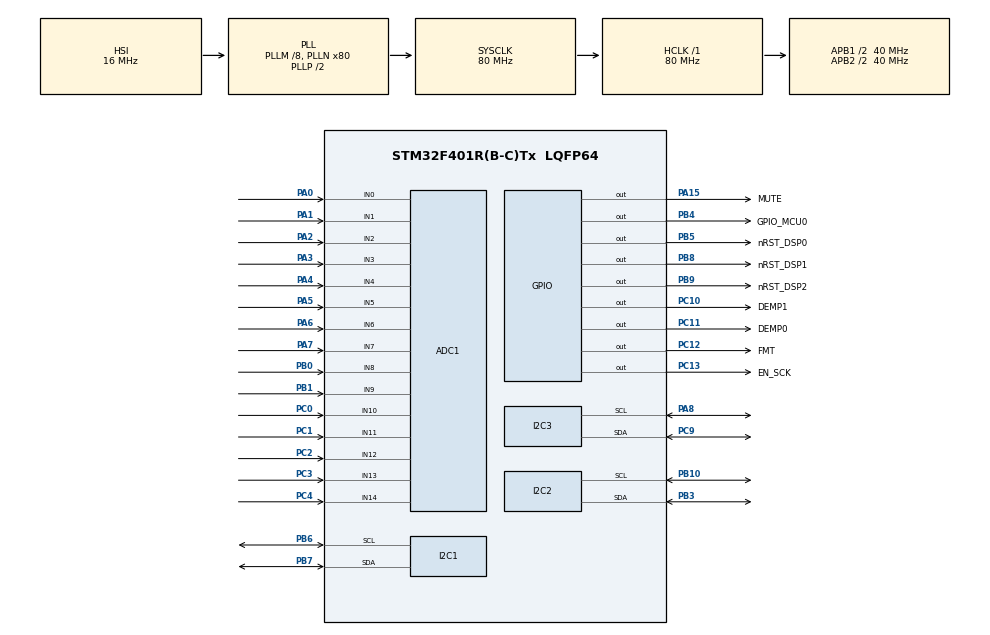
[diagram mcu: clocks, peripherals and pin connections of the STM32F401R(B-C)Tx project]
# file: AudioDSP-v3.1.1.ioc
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ADC1.Channel-0\#ChannelRegularConversion=ADC_CHANNEL_0
ADC1.Channel-1\#ChannelRegularConversion=ADC_CHANNEL_1
ADC1.Channel-10\#ChannelRegularConversion=ADC_CHANNEL_10
ADC1.Channel-11\#ChannelRegularConversion=ADC_CHANNEL_11
ADC1.Channel-12\#ChannelRegularConversion=ADC_CHANNEL_12
ADC1.Channel-13\#ChannelRegularConversion=ADC_CHANNEL_13
ADC1.Channel-14\#ChannelRegularConversion=ADC_CHANNEL_14
ADC1.Channel-2\#ChannelRegularConversion=ADC_CHANNEL_2
ADC1.Channel-3\#ChannelRegularConversion=ADC_CHANNEL_3
ADC1.Channel-4\#ChannelRegularConversion=ADC_CHANNEL_4
ADC1.Channel-5\#ChannelRegularConversion=ADC_CHANNEL_5
ADC1.Channel-6\#ChannelRegularConversion=ADC_CHANNEL_6
ADC1.Channel-7\#ChannelRegularConversion=ADC_CHANNEL_7
ADC1.Channel-8\#ChannelRegularConversion=ADC_CHANNEL_8
ADC1.Channel-9\#ChannelRegularConversion=ADC_CHANNEL_9
ADC1.EOCSelection=ADC_EOC_SEQ_CONV
ADC1.ExternalTrigConv=ADC_EXTERNALTRIGCONV_T2_TRGO
ADC1.NbrOfConversion=15
ADC1.NbrOfConversionFlag=1
ADC1.Rank-0\#ChannelRegularConversion=1
ADC1.Rank-1\#ChannelRegularConversion=2
ADC1.Rank-10\#ChannelRegularConversion=11
ADC1.Rank-11\#ChannelRegularConversion=12
ADC1.Rank-12\#ChannelRegularConversion=13
ADC1.Rank-13\#ChannelRegularConversion=14
ADC1.Rank-14\#ChannelRegularConversion=15
ADC1.Rank-2\#ChannelRegularConversion=3
ADC1.Rank-3\#ChannelRegularConversion=4
ADC1.Rank-4\#ChannelRegularConversion=5
ADC1.Rank-5\#ChannelRegularConversion=6
ADC1.Rank-6\#ChannelRegularConversion=7
ADC1.Rank-7\#ChannelRegularConversion=8
ADC1.Rank-8\#ChannelRegularConversion=9
ADC1.Rank-9\#ChannelRegularConversion=10
ADC1.SamplingTime-0\#ChannelRegularConversion=ADC_SAMPLETIME_84CYCLES
ADC1.SamplingTime-1\#ChannelRegularConversion=ADC_SAMPLETIME_84CYCLES
ADC1.SamplingTime-10\#ChannelRegularConversion=ADC_SAMPLETIME_84CYCLES
ADC1.SamplingTime-11\#ChannelRegularConversion=ADC_SAMPLETIME_84CYCLES
ADC1.SamplingTime-12\#ChannelRegularConversion=ADC_SAMPLETIME_84CYCLES
ADC1.SamplingTime-13\#ChannelRegularConversion=ADC_SAMPLETIME_84CYCLES
ADC1.SamplingTime-14\#ChannelRegularConversion=ADC_SAMPLETIME_84CYCLES
ADC1.SamplingTime-2\#ChannelRegularConversion=ADC_SAMPLETIME_84CYCLES
ADC1.SamplingTime-3\#ChannelRegularConversion=ADC_SAMPLETIME_84CYCLES
ADC1.SamplingTime-4\#ChannelRegularConversion=ADC_SAMPLETIME_84CYCLES
ADC1.SamplingTime-5\#ChannelRegularConversion=ADC_SAMPLETIME_84CYCLES
ADC1.SamplingTime-6\#ChannelRegularConversion=ADC_SAMPLETIME_84CYCLES
ADC1.SamplingTime-7\#ChannelRegularConversion=ADC_SAMPLETIME_84CYCLES
ADC1.SamplingTime-8\#ChannelRegularConversion=ADC_SAMPLETIME_84CYCLES
ADC1.SamplingTime-9\#ChannelRegularConversion=ADC_SAMPLETIME_84CYCLES
ADC1.master=1
Dma.ADC1.0.Direction=DMA_PERIPH_TO_MEMORY
Dma.ADC1.0.FIFOMode=DMA_FIFOMODE_DISABLE
Dma.ADC1.0.Instance=DMA2_Stream0
Dma.ADC1.0.MemDataAlignment=DMA_MDATAALIGN_WORD
Dma.ADC1.0.MemInc=DMA_MINC_ENABLE
Dma.ADC1.0.Mode=DMA_CIRCULAR
Dma.ADC1.0.PeriphDataAlignment=DMA_PDATAALIGN_WORD
Dma.ADC1.0.PeriphInc=DMA_PINC_DISABLE
Dma.ADC1.0.Priority=DMA_PRIORITY_LOW
Dma.Request0=ADC1
I2C1.I2C_Mode=I2C_Fast
I2C2.I2C_Mode=I2C_Fast
I2C3.I2C_Mode=I2C_Fast
Mcu.Family=STM32F4
Mcu.Name=STM32F401R(B-C)Tx
Mcu.Package=LQFP64
NVIC.DMA2_Stream0_IRQn=true\:0\:0\:false\:false\:true\:false\:true\:true
NVIC.PriorityGroup=NVIC_PRIORITYGROUP_4
PA0-WKUP.Signal=ADCx_IN0
PA1.Signal=ADCx_IN1
PA13.Mode=Serial_Wire
PA13.Signal=SYS_JTMS-SWDIO
PA14.Mode=Serial_Wire
PA14.Signal=SYS_JTCK-SWCLK
PA15.GPIO_Label=MUTE
PA15.Signal=GPIO_Output
PA2.Signal=ADCx_IN2
PA3.Signal=ADCx_IN3
PA4.Signal=ADCx_IN4
PA5.Signal=ADCx_IN5
PA6.Signal=ADCx_IN6
PA7.Signal=ADCx_IN7
PA8.Mode=I2C
PA8.Signal=I2C3_SCL
PB0.Signal=ADCx_IN8
PB1.Signal=ADCx_IN9
PB10.Mode=I2C
PB10.Signal=I2C2_SCL
PB3.Mode=I2C
PB3.Signal=I2C2_SDA
PB4.GPIO_Label=GPIO_MCU0
PB4.Signal=GPIO_Output
PB5.GPIO_Label=nRST_DSP0
PB5.Signal=GPIO_Output
PB6.Mode=I2C
PB6.Signal=I2C1_SCL
PB7.Mode=I2C
PB7.Signal=I2C1_SDA
PB8.GPIO_Label=nRST_DSP1
PB8.Signal=GPIO_Output
PB9.GPIO_Label=nRST_DSP2
PB9.Signal=GPIO_Output
PC0.Signal=ADCx_IN10
PC1.Signal=ADCx_IN11
PC10.GPIO_Label=DEMP1
PC10.Signal=GPIO_Output
PC11.GPIO_Label=DEMP0
PC11.Signal=GPIO_Output
PC12.GPIO_Label=FMT
PC12.Signal=GPIO_Output
PC13-ANTI_TAMP.GPIO_Label=EN_SCK
PC13-ANTI_TAMP.Signal=GPIO_Output
PC2.Signal=ADCx_IN12
PC3.Signal=ADCx_IN13
PC4.Signal=ADCx_IN14
PC9.Mode=I2C
PC9.Signal=I2C3_SDA
ProjectManager.HeapSize=0x200
ProjectManager.StackSize=0x400
ProjectManager.TargetToolchain=STM32CubeIDE
RCC.48MHZClocksFreq_Value=40000000
RCC.AHBFreq_Value=80000000
RCC.APB1CLKDivider=RCC_HCLK_DIV2
RCC.APB1Freq_Value=40000000
RCC.APB1TimFreq_Value=80000000
RCC.APB2CLKDivider=RCC_HCLK_DIV2
RCC.APB2Freq_Value=40000000
RCC.APB2TimFreq_Value=80000000
RCC.CortexFreq_Value=80000000
RCC.HCLKFreq_Value=80000000
RCC.HSE_VALUE=25000000
RCC.HSI_VALUE=16000000
RCC.LSE_VALUE=32768
RCC.PLLM=8
RCC.PLLN=80
RCC.SYSCLKFreq_VALUE=80000000
RCC.SYSCLKSource=RCC_SYSCLKSOURCE_PLLCLK
RCC.VCOOutputFreq_Value=160000000
SH.ADCx_IN0.0=ADC1_IN0,IN0
SH.ADCx_IN1.0=ADC1_IN1,IN1
SH.ADCx_IN10.0=ADC1_IN10,IN10
SH.ADCx_IN11.0=ADC1_IN11,IN11
SH.ADCx_IN12.0=ADC1_IN12,IN12
SH.ADCx_IN13.0=ADC1_IN13,IN13
SH.ADCx_IN14.0=ADC1_IN14,IN14
SH.ADCx_IN2.0=ADC1_IN2,IN2
SH.ADCx_IN3.0=ADC1_IN3,IN3
SH.ADCx_IN4.0=ADC1_IN4,IN4
SH.ADCx_IN5.0=ADC1_IN5,IN5
SH.ADCx_IN6.0=ADC1_IN6,IN6
SH.ADCx_IN7.0=ADC1_IN7,IN7
SH.ADCx_IN8.0=ADC1_IN8,IN8
SH.ADCx_IN9.0=ADC1_IN9,IN9
TIM2.Period=500-1
TIM2.Prescaler=8000
TIM2.TIM_MasterOutputTrigger=TIM_TRGO_UPDATE
TIM4.Period=123
TIM4.Prescaler=80 - 1
VP_TIM2_VS_ClockSourceINT.Mode=Internal
VP_TIM4_VS_ClockSourceINT.Mode=Internal
board=custom

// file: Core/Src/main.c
/* USER CODE BEGIN Header */
/**
  ******************************************************************************
  * @file           : main.c
  * @brief          : Main program body
  ******************************************************************************
  * @attention
  *
  * Copyright (c) 2024 STMicroelectronics.
  * All rights reserved.
  *
  * This software is licensed under terms that can be found in the LICENSE file
  * in the root directory of this software component.
  * If no LICENSE file comes with this software, it is provided AS-IS.
  *
  ******************************************************************************
  */
/* USER CODE END Header */
#include "main.h"

/* USER CODE BEGIN Includes */
#include "DSP/SigmaStudioFW.h"

#include "DSP/DSP_IC_1.h"
#include "DSP/DSP_IC_1_PARAM.h"

#include "math.h"
/* USER CODE END Includes */

/* USER CODE BEGIN PD */
#define ADC_POT 15

#define VOL_SUB 10
#define VOL_ARRAY 11
#define LOUD_LOW_ARRAY 12
#define LOUD_HIGH_ARRAY 13
#define LOUD_GRL_ARRAY 14

// I2C2
#define ADC0_ADDR 0x94
#define ADC1_ADDR 0x96
// I2C3
#define ADC2_ADDR 0x94

// I2C1
#define DSP0_ADDR 0x70
#define DSP1_ADDR 0x72
#define DSP2_ADDR 0x74
/* USER CODE END PD */

ADC_HandleTypeDef hadc1;
DMA_HandleTypeDef hdma_adc1;

I2C_HandleTypeDef hi2c1;
I2C_HandleTypeDef hi2c2;
I2C_HandleTypeDef hi2c3;

TIM_HandleTypeDef htim2;
TIM_HandleTypeDef htim4;

/* USER CODE BEGIN PV */
HAL_StatusTypeDef stat;

uint8_t auxData[4];

uint32_t value[ADC_POT]; // To store ADC values
uint16_t pote[ADC_POT];  // Potentiometer values 0-29
uint16_t log_in_table[30];
uint16_t linear_in_table[30];
uint16_t flag[ADC_POT];  // Flag for different potentiometers
uint8_t update = 0;
uint8_t tx_check = 0;

ADI_REG_TYPE aux[4];
ADI_REG_TYPE data_SafeLoad[4]; // Per slot
ADI_REG_TYPE address_SafeLoad[4]; // 2 Bytes per address
ADI_REG_TYPE num_SafeLoad_Lower[4];
ADI_REG_TYPE num_SafeLoad_Upper[4];
/* USER CODE END PV */

void SystemClock_Config(void);
static void MX_GPIO_Init(void);
static void MX_DMA_Init(void);
static void MX_ADC1_Init(void);
static void MX_TIM2_Init(void);
static void MX_I2C1_Init(void);
static void MX_I2C2_Init(void);
static void MX_I2C3_Init(void);
static void MX_TIM4_Init(void);
/* USER CODE BEGIN PFP */
void HAL_ADC_ConvCpltCallback(ADC_HandleTypeDef* hadc);
void delay_us(uint16_t us);
void Safeload_Write(void);
/* USER CODE END PFP */

int main(void)
{
  /* USER CODE BEGIN 1 */
	  uint16_t k = 0;
	  uint16_t pote_aux = 0;
	  uint16_t BandAddress[ADC_POT]; // Addresses of filters
	  uint32_t vol_data[30]; // Fixed volume values
	  uint32_t loud_data[30]; // Fixed loudness values
	  uint32_t boost_data[30]; // Fixed boost loudness values
	  uint32_t comp_data[30]; // Fixed compensation values

	  // Band Address Assign
	  BandAddress[0] = MOD_BAND32_SEL_DCINPALG145X4VALUE_ADDR;
	  BandAddress[1] = MOD_BAND64_SEL_DCINPALG145X5VALUE_ADDR;
	  BandAddress[2] = MOD_BAND128_SEL_DCINPALG145X6VALUE_ADDR;
	  BandAddress[3] = MOD_BAND256_SEL_DCINPALG145X7VALUE_ADDR;
	  BandAddress[4] = MOD_BAND512_SEL_DCINPALG145X8VALUE_ADDR;
	  BandAddress[5] = MOD_BAND1K_SEL_DCINPALG145X9VALUE_ADDR;
	  BandAddress[6] = MOD_BAND2K_SEL_DCINPALG145X10VALUE_ADDR;
	  BandAddress[7] = MOD_BAND4K_SEL_DCINPALG145X11VALUE_ADDR;
	  BandAddress[8] = MOD_BAND8K_SEL_DCINPALG145X12VALUE_ADDR;
	  BandAddress[9] = MOD_BAND16K_SEL_DCINPALG145X13VALUE_ADDR;
	  //BandAddress[VOL_SUB] = MOD_VOLHP_GAINALGNS145X4GAIN_ADDR; // Subwoofer Volume
	  BandAddress[VOL_ARRAY] = MOD_VOL_GAINALGNS145X1GAIN_ADDR; // General Volume
	  BandAddress[LOUD_LOW_ARRAY] = MOD_LOUD_ALG0_LEVEL0_ADDR;
	  BandAddress[LOUD_HIGH_ARRAY] = MOD_LOUD_ALG0_LEVEL1_ADDR;
	  BandAddress[LOUD_GRL_ARRAY] = MOD_LOUD_SEL_DCINPALG145X15VALUE_ADDR;

	  // 8.24 FixPoint Volume
	  vol_data[29] = 0x01000000; // 0dB
	  vol_data[28] = 0x00CB5918; // -2dB
	  vol_data[27] = 0x00A1866C; // -4dB
	  vol_data[26] = 0x00804DCE; // -6dB
	  vol_data[25] = 0x0065EA5A; // -8dB
	  vol_data[24] = 0x0050F44E; // -10dB
	  vol_data[23] = 0x00404DE6; // -12dB
	  vol_data[22] = 0x00331427; // -14dB (-7.2dB)
	  vol_data[21] = 0x002892C2; // -16dB
	  vol_data[20] = 0x00203A7E; // -18dB
	  vol_data[19] = 0x0019999A; // -20dB
	  vol_data[18] = 0x001455B6; // -22dB
	  vol_data[17] = 0x0010270B; // -24dB
	  vol_data[16] = 0x000CD495; // -26dB
	  vol_data[15] = 0x000A3109; // -28dB
	  vol_data[14] = 0x0008186E; // -30dB
	  vol_data[13] = 0x00066E31; // -32dB
	  vol_data[12] = 0x00051B9D; // -34dB
	  vol_data[11] = 0x00040EAD; // -36dB
	  vol_data[10] = 0x0003390D; // -38dB
	  vol_data[9] = 0x00028F5C; // -40dB
	  vol_data[8] = 0x00020892; // -42dB
	  vol_data[7] = 0x00019D81; // -44dB
	  vol_data[6] = 0x00014875; // -46dB
	  vol_data[5] = 0x000104E7; // -48dB
	  vol_data[4] = 0x0000CF3E; // -50dB
	  vol_data[3] = 0x0000A49E; // -52dB
	  vol_data[2] = 0x000082C3; // -54dB
	  vol_data[1] = 0x000067DE; // -56dB
	  vol_data[0] = 0x00005281; // -58dB

	  // 8.24 FixPoint Loudness
	  loud_data[29] = 0x01000000; // 0dB
	  loud_data[28] = 0x00F1ADF9; // -0.5dB
	  loud_data[27] = 0x00E42905; // -1dB
	  loud_data[26] = 0x00D765AC; // -1.5dB
	  loud_data[25] = 0x00CB5918; // -2dB
	  loud_data[24] = 0x00BFF911; // -2.5dB
	  loud_data[23] = 0x00B53BEF; // -3dB
	  loud_data[22] = 0x00AB1896; // -3.5dB
	  loud_data[21] = 0x00A1866C; // -4dB
	  loud_data[20] = 0x00987D50; // -4.5dB
	  loud_data[19] = 0x008FF59A; // -5dB
	  loud_data[18] = 0x0087E80B; // -5.5dB
	  loud_data[17] = 0x00804DCE; // -6dB
	  loud_data[16] = 0x00792071; // -6.5dB
	  loud_data[15] = 0x007259DB; // -7dB
	  loud_data[14] = 0x006BF44D; // -7.5dB
	  loud_data[13] = 0x0065EA5A; // -8dB
	  loud_data[12] = 0x006036E1; // -8.5dB
	  loud_data[11] = 0x005AD50D; // -9dB
	  loud_data[10] = 0x0055C04C; // -9.5dB
	  loud_data[9] = 0x0050F44E; // -10dB
	  loud_data[8] = 0x004C6D01; // -10.5dB
	  loud_data[7] = 0x0048268E; // -11dB
	  loud_data[6] = 0x00441D54; // -11.5dB
	  loud_data[5] = 0x00404DE6; // -12dB
	  loud_data[4] = 0x003CB509; // -12.5dB
	  loud_data[3] = 0x00394FAF; // -13dB
	  loud_data[2] = 0x00361AF6; // -13.5dB
	  loud_data[1] = 0x00331427; // -14dB
	  loud_data[0] = 0x003038AF; // -14.5dB

	  // 8.24 Compensation FixPoint
	  comp_data[29] = 0x01000000; // 0dB
	  comp_data[28] = 0x010F2B41; // +0.5dB
	  comp_data[27] = 0x011F3C9A; // +1dB
	  comp_data[26] = 0x013041AF; // +1.5dB
	  comp_data[25] = 0x014248F0; // +2dB
	  comp_data[24] = 0x015561A9; // +2.5dB
	  comp_data[23] = 0x01699C0F; // +3dB
	  comp_data[22] = 0x017F094D; // +3.5dB
	  comp_data[21] = 0x0195BB8F; // +4dB
	  comp_data[20] = 0x01ADC61A; // +4.5dB
	  comp_data[19] = 0x01C73D52; // +5dB
	  comp_data[18] = 0x01E236D4; // +5.5dB
	  comp_data[17] = 0x01FEC983; // +6dB
	  comp_data[16] = 0x021D0D9E; // +6.5dB
	  comp_data[15] = 0x023D1CD4; // +7dB
	  comp_data[14] = 0x025F1259; // +7.5dB
	  comp_data[13] = 0x02830AFD; // +8dB
	  comp_data[12] = 0x02A92547; // +8.5dB
	  comp_data[11] = 0x02D1818B; // +9dB
	  comp_data[10] = 0x02FC4209; // +9.5dB
	  comp_data[9] = 0x03298B07; // +10dB
	  comp_data[8] = 0x035982F3; // +10.5dB
	  comp_data[7] = 0x038C5281; // +11dB
	  comp_data[6] = 0x03C224CD; // +11.5dB
	  comp_data[5] = 0x03FB2784; // +12dB
	  comp_data[4] = 0x04378B05; // +12.5dB
	  comp_data[3] = 0x0477828F; // +13dB
	  comp_data[2] = 0x04BB4469; // +13.5dB
	  comp_data[1] = 0x05030A11; // +14dB
	  comp_data[0] = 0x054F106E; // +14.5dB

	  // 8.24 FixPoint Bass and Treble Loudness
	  boost_data[29] = 0x02800000; // 2.50
	  boost_data[28] = 0x02666666; // 2.40
	  boost_data[27] = 0x02570a3c; // 2.34
	  boost_data[26] = 0x02451eb8; // 2.27
	  boost_data[25] = 0x02333332; // 2.20
	  boost_data[24] = 0x022147ae; // 2.13
	  boost_data[23] = 0x020f5c28; // 2.06
	  boost_data[22] = 0x02000000; // 2.00
	  boost_data[21] = 0x01ee147a; // 1.93
	  boost_data[20] = 0x01dc28f4; // 1.86
	  boost_data[19] = 0x01ca3d70; // 1.79
	  boost_data[18] = 0x01b851ea; // 1.72
	  boost_data[17] = 0x01a8f5c2; // 1.66
	  boost_data[16] = 0x01970a3c; // 1.59
	  boost_data[15] = 0x01851eb8; // 1.52
	  boost_data[14] = 0x01733332; // 1.45
	  boost_data[13] = 0x016147ae; // 1.38
	  boost_data[12] = 0x0151eb84; // 1.32
	  boost_data[11] = 0x01400000; // 1.25
	  boost_data[10] = 0x012e147a; // 1.18
	  boost_data[9] =  0x011c28f4; // 1.11
	  boost_data[8] =  0x010a3d70; // 1.04
	  boost_data[7] =  0x00fae146; // 0.98
	  boost_data[6] =  0x00e8f5c2; // 0.91
	  boost_data[5] =  0x00d70a3c; // 0.84
	  boost_data[4] =  0x00c51eb8; // 0.77
	  boost_data[3] =  0x00b33332; // 0.70
	  boost_data[2] =  0x00a3d70a; // 0.64
	  boost_data[1] =  0x0091eb84; // 0.57
	  boost_data[0] =  0x00800000; // 0.50

	  for(k=0; k<30; k++)
	  {
		  log_in_table[k] = 4096.0*log10(1.0+(3.0*k/10.0));
		  linear_in_table[k] = 4096*k/30;
	  }
  /* USER CODE END 1 */

  /* MCU Configuration--------------------------------------------------------*/

  /* Reset of all peripherals, Initializes the Flash interface and the Systick. */
  HAL_Init();

  /* Configure the system clock */
  SystemClock_Config();

  /* Initialize all configured peripherals */
  MX_GPIO_Init();
  MX_DMA_Init();
  MX_ADC1_Init();
  MX_TIM2_Init();
  MX_I2C1_Init();
  MX_I2C2_Init();
  MX_I2C3_Init();
  MX_TIM4_Init();
  /* USER CODE BEGIN 2 */

  // Start timer for delay function
  HAL_TIM_Base_Start(&htim4);

  // Reset DSPs
  HAL_GPIO_WritePin(nRST_DSP0_GPIO_Port, nRST_DSP0_Pin, GPIO_PIN_RESET);
  HAL_GPIO_WritePin(nRST_DSP1_GPIO_Port, nRST_DSP1_Pin, GPIO_PIN_RESET);
  HAL_GPIO_WritePin(nRST_DSP2_GPIO_Port, nRST_DSP2_Pin, GPIO_PIN_RESET);

  HAL_Delay(100);

  // Disable CLK
  HAL_GPIO_WritePin(EN_SCK_GPIO_Port, EN_SCK_Pin, GPIO_PIN_RESET);

  // Configure DACs
  HAL_GPIO_WritePin(FMT_GPIO_Port, FMT_Pin, GPIO_PIN_RESET); // 16-to-24 bit I2S Format
  HAL_GPIO_WritePin(DEMP1_GPIO_Port, DEMP1_Pin, GPIO_PIN_RESET); // De-Emphasis
  HAL_GPIO_WritePin(DEMP0_GPIO_Port, DEMP0_Pin, GPIO_PIN_SET);
  HAL_GPIO_WritePin(MUTE_GPIO_Port, MUTE_Pin, GPIO_PIN_RESET); // Mute OFF

  // Enable CLK
  HAL_GPIO_WritePin(EN_SCK_GPIO_Port, EN_SCK_Pin, GPIO_PIN_SET);

  // Mute DSPs
  HAL_GPIO_WritePin(GPIO_MCU0_GPIO_Port, GPIO_MCU0_Pin, GPIO_PIN_RESET);

  // Enable DSPs
  HAL_GPIO_WritePin(nRST_DSP0_GPIO_Port, nRST_DSP0_Pin, GPIO_PIN_SET);
  HAL_GPIO_WritePin(nRST_DSP1_GPIO_Port, nRST_DSP1_Pin, GPIO_PIN_SET);
  HAL_GPIO_WritePin(nRST_DSP2_GPIO_Port, nRST_DSP2_Pin, GPIO_PIN_SET);

  // DSPs Software Download
  default_download_IC_1(DSP0_ADDR);
  default_download_IC_1(DSP1_ADDR);
  default_download_IC_1(DSP2_ADDR);

  // Configure ADCs
  auxData[0] = 0xFE;
  stat = HAL_I2C_Mem_Write(&hi2c2, ADC0_ADDR, 0x00, 1, auxData, 1, 1000);
  stat = HAL_I2C_Mem_Write(&hi2c2, ADC1_ADDR, 0x00, 1, auxData, 1, 1000);
  stat = HAL_I2C_Mem_Write(&hi2c3, ADC2_ADDR, 0x00, 1, auxData, 1, 1000);
  auxData[0] = 0x47;
  stat = HAL_I2C_Mem_Write(&hi2c2, ADC0_ADDR, 0x20, 1, auxData, 1, 1000);
  stat = HAL_I2C_Mem_Write(&hi2c2, ADC1_ADDR, 0x20, 1, auxData, 1, 1000);
  stat = HAL_I2C_Mem_Write(&hi2c3, ADC2_ADDR, 0x20, 1, auxData, 1, 1000);

  // Un-mute DSPs
  HAL_GPIO_WritePin(GPIO_MCU0_GPIO_Port, GPIO_MCU0_Pin, GPIO_PIN_SET);

  // Set flag ADC to update
  for(k=0; k<ADC_POT; k++)
  {
	  flag[k] = 1;
  }

  // DMA Start
  HAL_TIM_Base_Start(&htim2);
  HAL_ADC_Start_DMA(&hadc1, value, ADC_POT);

  HAL_Delay(100);

  // Data pre-load
  data_SafeLoad[2] = 0x00;
  data_SafeLoad[1] = 0x00;
  data_SafeLoad[0] = 0x00;

  address_SafeLoad[1] = 0x00;
  address_SafeLoad[0] = 0x00;

  num_SafeLoad_Lower[3] = 0x01;
  num_SafeLoad_Lower[2] = 0x00;
  num_SafeLoad_Lower[1] = 0x00;
  num_SafeLoad_Lower[0] = 0x00;

  num_SafeLoad_Upper[3] = 0x00;
  num_SafeLoad_Upper[2] = 0x00;
  num_SafeLoad_Upper[1] = 0x00;
  num_SafeLoad_Upper[0] = 0x00;

  for(k=0; k<10; k++) // Pre-load Filters 32Hz - 16KHz
  {
	  while(tx_check < 3)
	  {
		  tx_check = 0;
		  data_SafeLoad[3] = 29 - pote[k];
		  address_SafeLoad[3] = 0xFF & (BandAddress[k]);
		  address_SafeLoad[2] = 0xFF & ((BandAddress[k])>>8);
		  Safeload_Write();
		  delay_us(100);
		  stat = HAL_I2C_Mem_Read(&hi2c1, DSP0_ADDR, BandAddress[k], 2, aux, 4, 1000);
		  stat = 0;
		  if(aux[3] == data_SafeLoad[3])
		  {
			  tx_check++;
		  }
		  stat = HAL_I2C_Mem_Read(&hi2c1, DSP1_ADDR, BandAddress[k], 2, aux, 4, 1000);
		  stat = 0;
		  if(aux[3] == data_SafeLoad[3])
		  {
			  tx_check++;
		  }
		  stat = HAL_I2C_Mem_Read(&hi2c1, DSP2_ADDR, BandAddress[k], 2, aux, 4, 1000);
		  stat = 0;
		  if(aux[3] == data_SafeLoad[3])
		  {
			  tx_check++;
		  }
	  }
	  tx_check = 0;
  }

  while(tx_check < 3) // Pre-load Volume
  {
	  tx_check = 0;
	  pote_aux = 29 - pote[VOL_ARRAY];
	  data_SafeLoad[3] = 0xFF & (vol_data[pote_aux]);
	  data_SafeLoad[2] = 0xFF & ((vol_data[pote_aux])>>8);
	  data_SafeLoad[1] = 0xFF & ((vol_data[pote_aux])>>16);
	  data_SafeLoad[0] = 0xFF & ((vol_data[pote_aux])>>24);
	  address_SafeLoad[3] = 0xFF & (BandAddress[VOL_ARRAY]);
	  address_SafeLoad[2] = 0xFF & ((BandAddress[VOL_ARRAY])>>8);
	  Safeload_Write();
	  delay_us(100);
	  stat = HAL_I2C_Mem_Read(&hi2c1, DSP0_ADDR, BandAddress[VOL_ARRAY], 2, aux, 4, 1000);
	  stat = 0;
	  if(aux[3] == data_SafeLoad[3])
	  {
		  if(aux[2] == data_SafeLoad[2])
		  {
			  if(aux[1] == data_SafeLoad[1])
			  {
				  if(aux[0] == data_SafeLoad[0])
				  {
					  tx_check++;
				  }
			  }
		  }
	  }
	  stat = HAL_I2C_Mem_Read(&hi2c1, DSP1_ADDR, BandAddress[VOL_ARRAY], 2, aux, 4, 1000);
	  stat = 0;
	  if(aux[3] == data_SafeLoad[3])
	  {
		  if(aux[2] == data_SafeLoad[2])
		  {
			  if(aux[1] == data_SafeLoad[1])
			  {
				  if(aux[0] == data_SafeLoad[0])
				  {
					  tx_check++;
				  }
			  }
		  }
	  }
	  stat = HAL_I2C_Mem_Read(&hi2c1, DSP2_ADDR, BandAddress[VOL_ARRAY], 2, aux, 4, 1000);
	  stat = 0;
	  if(aux[3] == data_SafeLoad[3])
	  {
		  if(aux[2] == data_SafeLoad[2])
		  {
			  if(aux[1] == data_SafeLoad[1])
			  {
				  if(aux[0] == data_SafeLoad[0])
				  {
					  tx_check++;
				  }
			  }
		  }
	  }
  }
  tx_check = 0;

  while(tx_check < 3) // Pre-load Loudness LOW
  {
	  tx_check = 0;
	  pote_aux = 29 - pote[LOUD_LOW_ARRAY];

	  data_SafeLoad[3] = 0xFF & (boost_data[pote_aux]);
	  data_SafeLoad[2] = 0xFF & ((boost_data[pote_aux])>>8);
	  data_SafeLoad[1] = 0xFF & ((boost_data[pote_aux])>>16);
	  data_SafeLoad[0] = 0xFF & ((boost_data[pote_aux])>>24);
	  address_SafeLoad[3] = 0xFF & (BandAddress[LOUD_LOW_ARRAY]);
	  address_SafeLoad[2] = 0xFF & ((BandAddress[LOUD_LOW_ARRAY])>>8);
	  Safeload_Write();
	  delay_us(100);
	  stat = HAL_I2C_Mem_Read(&hi2c1, DSP0_ADDR, BandAddress[LOUD_LOW_ARRAY], 2, aux, 4, 1000);
	  stat = 0;
	  if(aux[3] == data_SafeLoad[3])
	  {
		  if(aux[2] == data_SafeLoad[2])
		  {
			  if(aux[1] == data_SafeLoad[1])
			  {
				  if(aux[0] == data_SafeLoad[0])
				  {
					  tx_check++;
				  }
			  }
		  }
	  }
	  stat = HAL_I2C_Mem_Read(&hi2c1, DSP1_ADDR, BandAddress[LOUD_LOW_ARRAY], 2, aux, 4, 1000);
	  stat = 0;
	  if(aux[3] == data_SafeLoad[3])
	  {
		  if(aux[2] == data_SafeLoad[2])
		  {
			  if(aux[1] == data_SafeLoad[1])
			  {
				  if(aux[0] == data_SafeLoad[0])
				  {
					  tx_check++;
				  }
			  }
		  }
	  }
	  stat = HAL_I2C_Mem_Read(&hi2c1, DSP2_ADDR, BandAddress[LOUD_LOW_ARRAY], 2, aux, 4, 1000);
	  stat = 0;
	  if(aux[3] == data_SafeLoad[3])
	  {
		  if(aux[2] == data_SafeLoad[2])
		  {
			  if(aux[1] == data_SafeLoad[1])
			  {
				  if(aux[0] == data_SafeLoad[0])
				  {
					  tx_check++;
				  }
			  }
		  }
	  }
  }
  tx_check = 0;

  while(tx_check < 3) // Pre-load Loudness HIGH
  {
	  tx_check = 0;
	  pote_aux = 29 - pote[LOUD_HIGH_ARRAY];

	  data_SafeLoad[3] = 0xFF & (boost_data[pote_aux]);
	  data_SafeLoad[2] = 0xFF & ((boost_data[pote_aux])>>8);
	  data_SafeLoad[1] = 0xFF & ((boost_data[pote_aux])>>16);
	  data_SafeLoad[0] = 0xFF & ((boost_data[pote_aux])>>24);
	  address_SafeLoad[3] = 0xFF & (BandAddress[LOUD_HIGH_ARRAY]);
	  address_SafeLoad[2] = 0xFF & ((BandAddress[LOUD_HIGH_ARRAY])>>8);
	  Safeload_Write();
	  delay_us(100);
	  stat = HAL_I2C_Mem_Read(&hi2c1, DSP0_ADDR, BandAddress[LOUD_HIGH_ARRAY], 2, aux, 4, 1000);
	  stat = 0;
	  if(aux[3] == data_SafeLoad[3])
	  {
		  if(aux[2] == data_SafeLoad[2])
		  {
			  if(aux[1] == data_SafeLoad[1])
			  {
				  if(aux[0] == data_SafeLoad[0])
				  {
					  tx_check++;
				  }
			  }
		  }
	  }
	  stat = HAL_I2C_Mem_Read(&hi2c1, DSP1_ADDR, BandAddress[LOUD_HIGH_ARRAY], 2, aux, 4, 1000);
	  stat = 0;
	  if(aux[3] == data_SafeLoad[3])
	  {
		  if(aux[2] == data_SafeLoad[2])
		  {
			  if(aux[1] == data_SafeLoad[1])
			  {
				  if(aux[0] == data_SafeLoad[0])
				  {
					  tx_check++;
				  }
			  }
		  }
	  }
	  stat = HAL_I2C_Mem_Read(&hi2c1, DSP2_ADDR, BandAddress[LOUD_HIGH_ARRAY], 2, aux, 4, 1000);
	  stat = 0;
	  if(aux[3] == data_SafeLoad[3])
	  {
		  if(aux[2] == data_SafeLoad[2])
		  {
			  if(aux[1] == data_SafeLoad[1])
			  {
				  if(aux[0] == data_SafeLoad[0])
				  {
					  tx_check++;
				  }
			  }
		  }
	  }
  }
  tx_check = 0;

  while(tx_check < 3) // Pre-load Loudness GRL
  {
	  tx_check = 0;
	  pote_aux = pote[LOUD_GRL_ARRAY];

	  data_SafeLoad[3] = 0xFF & (loud_data[pote_aux]);
	  data_SafeLoad[2] = 0xFF & ((loud_data[pote_aux])>>8);
	  data_SafeLoad[1] = 0xFF & ((loud_data[pote_aux])>>16);
	  data_SafeLoad[0] = 0xFF & ((loud_data[pote_aux])>>24);
	  address_SafeLoad[3] = 0xFF & (BandAddress[LOUD_GRL_ARRAY]);
	  address_SafeLoad[2] = 0xFF & ((BandAddress[LOUD_GRL_ARRAY])>>8);
	  Safeload_Write();
	  delay_us(100);
	  stat = HAL_I2C_Mem_Read(&hi2c1, DSP0_ADDR, BandAddress[LOUD_GRL_ARRAY], 2, aux, 4, 1000);
	  stat = 0;
	  if(aux[3] == data_SafeLoad[3])
	  {
		  if(aux[2] == data_SafeLoad[2])
		  {
			  if(aux[1] == data_SafeLoad[1])
			  {
				  if(aux[0] == data_SafeLoad[0])
				  {
					  tx_check++;
				  }
			  }
		  }
	  }
	  stat = HAL_I2C_Mem_Read(&hi2c1, DSP1_ADDR, BandAddress[LOUD_GRL_ARRAY], 2, aux, 4, 1000);
	  stat = 0;
	  if(aux[3] == data_SafeLoad[3])
	  {
		  if(aux[2] == data_SafeLoad[2])
		  {
			  if(aux[1] == data_SafeLoad[1])
			  {
				  if(aux[0] == data_SafeLoad[0])
				  {
					  tx_check++;
				  }
			  }
		  }
	  }
	  stat = HAL_I2C_Mem_Read(&hi2c1, DSP2_ADDR, BandAddress[LOUD_GRL_ARRAY], 2, aux, 4, 1000);
	  stat = 0;
	  if(aux[3] == data_SafeLoad[3])
	  {
		  if(aux[2] == data_SafeLoad[2])
		  {
			  if(aux[1] == data_SafeLoad[1])
			  {
				  if(aux[0] == data_SafeLoad[0])
				  {
					  tx_check++;
				  }
			  }
		  }
	  }
  }
  tx_check = 0;

  while(tx_check < 3) // Pre-load Loudness COMP
  {
	  tx_check = 0;
	  data_SafeLoad[3] = 0xFF & (comp_data[pote_aux]);
	  data_SafeLoad[2] = 0xFF & ((comp_data[pote_aux])>>8);
	  data_SafeLoad[1] = 0xFF & ((comp_data[pote_aux])>>16);
	  data_SafeLoad[0] = 0xFF & ((comp_data[pote_aux])>>24);
	  address_SafeLoad[3] = 0xFF & (MOD_LOUD_COMP_GAINALGNS145X2GAIN_ADDR);
	  address_SafeLoad[2] = 0xFF & ((MOD_LOUD_COMP_GAINALGNS145X2GAIN_ADDR)>>8);
	  Safeload_Write();
	  delay_us(100);
	  stat = HAL_I2C_Mem_Read(&hi2c1, DSP0_ADDR, MOD_LOUD_COMP_GAINALGNS145X2GAIN_ADDR, 2, aux, 4, 1000);
	  stat = 0;
	  if(aux[3] == data_SafeLoad[3])
	  {
		  if(aux[2] == data_SafeLoad[2])
		  {
			  if(aux[1] == data_SafeLoad[1])
			  {
				  if(aux[0] == data_SafeLoad[0])
				  {
					  tx_check++;
				  }
			  }
		  }
	  }
	  stat = HAL_I2C_Mem_Read(&hi2c1, DSP1_ADDR, MOD_LOUD_COMP_GAINALGNS145X2GAIN_ADDR, 2, aux, 4, 1000);
	  stat = 0;
	  if(aux[3] == data_SafeLoad[3])
	  {
		  if(aux[2] == data_SafeLoad[2])
		  {
			  if(aux[1] == data_SafeLoad[1])
			  {
				  if(aux[0] == data_SafeLoad[0])
				  {
					  tx_check++;
				  }
			  }
		  }
	  }
	  stat = HAL_I2C_Mem_Read(&hi2c1, DSP2_ADDR, MOD_LOUD_COMP_GAINALGNS145X2GAIN_ADDR, 2, aux, 4, 1000);
	  stat = 0;
	  if(aux[3] == data_SafeLoad[3])
	  {
		  if(aux[2] == data_SafeLoad[2])
		  {
			  if(aux[1] == data_SafeLoad[1])
			  {
				  if(aux[0] == data_SafeLoad[0])
				  {
					  tx_check++;
				  }
			  }
		  }
	  }
  }
  tx_check = 0;

  /* USER CODE END 2 */

  /* Infinite loop */
  while (1)
  {

    /* USER CODE BEGIN 3 */
 	  data_SafeLoad[2] = 0x00;
	  data_SafeLoad[1] = 0x00;
	  data_SafeLoad[0] = 0x00;

	  address_SafeLoad[1] = 0x00;
	  address_SafeLoad[0] = 0x00;

	  num_SafeLoad_Lower[3] = 0x01;
	  num_SafeLoad_Lower[2] = 0x00;
	  num_SafeLoad_Lower[1] = 0x00;
	  num_SafeLoad_Lower[0] = 0x00;

	  num_SafeLoad_Upper[3] = 0x00;
	  num_SafeLoad_Upper[2] = 0x00;
	  num_SafeLoad_Upper[1] = 0x00;
	  num_SafeLoad_Upper[0] = 0x00;

	  if(update == 1)
	  {
		  for(k=0; k<10; k++) // Filters 32Hz - 16KHz
		  {
			  if(flag[k] == 1)
			  {
				  flag[k] = 0;
				  data_SafeLoad[3] = 29 - pote[k];
				  address_SafeLoad[3] = 0xFF & (BandAddress[k]);
				  address_SafeLoad[2] = 0xFF & ((BandAddress[k])>>8);
				  Safeload_Write();
				  delay_us(100);
			  }

		  }

		  if(flag[VOL_ARRAY] == 1) // Volume General
		  {
			  flag[VOL_ARRAY] = 0;
			  pote_aux = 29 - pote[VOL_ARRAY];

			  data_SafeLoad[3] = 0xFF & (vol_data[pote_aux]);
			  data_SafeLoad[2] = 0xFF & ((vol_data[pote_aux])>>8);
			  data_SafeLoad[1] = 0xFF & ((vol_data[pote_aux])>>16);
			  data_SafeLoad[0] = 0xFF & ((vol_data[pote_aux])>>24);
			  address_SafeLoad[3] = 0xFF & (BandAddress[VOL_ARRAY]);
			  address_SafeLoad[2] = 0xFF & ((BandAddress[VOL_ARRAY])>>8);
			  Safeload_Write();
			  delay_us(100);
		  }

//		  if(flag[VOL_SUB] == 1)
//		  {
//			  flag[VOL_SUB] = 0;
//			  pote_aux = 29 - pote[VOL_SUB];
//
//			  data_SafeLoad[3] = 0xFF & (vol_data[pote_aux]);
//			  data_SafeLoad[2] = 0xFF & ((vol_data[pote_aux])>>8);
//			  data_SafeLoad[1] = 0xFF & ((vol_data[pote_aux])>>16);
//			  data_SafeLoad[0] = 0xFF & ((vol_data[pote_aux])>>24);
//			  address_SafeLoad[3] = 0xFF & (BandAddress[VOL_SUB]);
//			  address_SafeLoad[2] = 0xFF & ((BandAddress[VOL_SUB])>>8);
//			  SIGMA_WRITE_REGISTER_BLOCK(DSP0_ADDR, MOD_SAFELOADMODULE_DATA_SAFELOAD0_ADDR, 4, data_SafeLoad);
//			  SIGMA_WRITE_REGISTER_BLOCK(DSP0_ADDR, MOD_SAFELOADMODULE_ADDRESS_SAFELOAD_ADDR, 4, address_SafeLoad);
//			  SIGMA_WRITE_REGISTER_BLOCK(DSP0_ADDR, MOD_SAFELOADMODULE_NUM_SAFELOAD_ADDR, 4, num_SafeLoad);
//			  SIGMA_WRITE_REGISTER_BLOCK(DSP1_ADDR, MOD_SAFELOADMODULE_DATA_SAFELOAD0_ADDR, 4, data_SafeLoad);
//			  SIGMA_WRITE_REGISTER_BLOCK(DSP1_ADDR, MOD_SAFELOADMODULE_ADDRESS_SAFELOAD_ADDR, 4, address_SafeLoad);
//			  SIGMA_WRITE_REGISTER_BLOCK(DSP1_ADDR, MOD_SAFELOADMODULE_NUM_SAFELOAD_ADDR, 4, num_SafeLoad);
//			  SIGMA_WRITE_REGISTER_BLOCK(DSP2_ADDR, MOD_SAFELOADMODULE_DATA_SAFELOAD0_ADDR, 4, data_SafeLoad);
//			  SIGMA_WRITE_REGISTER_BLOCK(DSP2_ADDR, MOD_SAFELOADMODULE_ADDRESS_SAFELOAD_ADDR, 4, address_SafeLoad);
//			  SIGMA_WRITE_REGISTER_BLOCK(DSP2_ADDR, MOD_SAFELOADMODULE_NUM_SAFELOAD_ADDR, 4, num_SafeLoad);
//			  delay_us(100);
//		  }

		  if(flag[LOUD_LOW_ARRAY] == 1) // Loudness Low Side
		  {
			  flag[LOUD_LOW_ARRAY] = 0;
			  pote_aux = 29 - pote[LOUD_LOW_ARRAY];

			  data_SafeLoad[3] = 0xFF & (boost_data[pote_aux]);
			  data_SafeLoad[2] = 0xFF & ((boost_data[pote_aux])>>8);
			  data_SafeLoad[1] = 0xFF & ((boost_data[pote_aux])>>16);
			  data_SafeLoad[0] = 0xFF & ((boost_data[pote_aux])>>24);
			  address_SafeLoad[3] = 0xFF & (BandAddress[LOUD_LOW_ARRAY]);
			  address_SafeLoad[2] = 0xFF & ((BandAddress[LOUD_LOW_ARRAY])>>8);
			  Safeload_Write();
			  delay_us(100);
		  }

		  if(flag[LOUD_HIGH_ARRAY] == 1) // Loudness High Side
		  {
			  flag[LOUD_HIGH_ARRAY] = 0;
			  pote_aux = 29 - pote[LOUD_HIGH_ARRAY];

			  data_SafeLoad[3] = 0xFF & (boost_data[pote_aux]);
			  data_SafeLoad[2] = 0xFF & ((boost_data[pote_aux])>>8);
			  data_SafeLoad[1] = 0xFF & ((boost_data[pote_aux])>>16);
			  data_SafeLoad[0] = 0xFF & ((boost_data[pote_aux])>>24);
			  address_SafeLoad[3] = 0xFF & (BandAddress[LOUD_HIGH_ARRAY]);
			  address_SafeLoad[2] = 0xFF & ((BandAddress[LOUD_HIGH_ARRAY])>>8);
			  Safeload_Write();
			  delay_us(100);
		  }

		  if(flag[LOUD_GRL_ARRAY] == 1) // Loudness General
		  {
			  flag[LOUD_GRL_ARRAY] = 0;
			  pote_aux = pote[LOUD_GRL_ARRAY];

			  data_SafeLoad[3] = 0xFF & (loud_data[pote_aux]);
			  data_SafeLoad[2] = 0xFF & ((loud_data[pote_aux])>>8);
			  data_SafeLoad[1] = 0xFF & ((loud_data[pote_aux])>>16);
			  data_SafeLoad[0] = 0xFF & ((loud_data[pote_aux])>>24);
			  address_SafeLoad[3] = 0xFF & (BandAddress[LOUD_GRL_ARRAY]);
			  address_SafeLoad[2] = 0xFF & ((BandAddress[LOUD_GRL_ARRAY])>>8);
			  Safeload_Write();
			  delay_us(100);

			  data_SafeLoad[3] = 0xFF & (comp_data[pote_aux]);
			  data_SafeLoad[2] = 0xFF & ((comp_data[pote_aux])>>8);
			  data_SafeLoad[1] = 0xFF & ((comp_data[pote_aux])>>16);
			  data_SafeLoad[0] = 0xFF & ((comp_data[pote_aux])>>24);
			  address_SafeLoad[3] = 0xFF & (MOD_LOUD_COMP_GAINALGNS145X2GAIN_ADDR);
			  address_SafeLoad[2] = 0xFF & ((MOD_LOUD_COMP_GAINALGNS145X2GAIN_ADDR)>>8);
			  Safeload_Write();
			  delay_us(100);
		  }

		  update = 0;
		  HAL_ADC_Start_DMA(&hadc1, value, ADC_POT);
	  }
  }
  /* USER CODE END 3 */
}

void SystemClock_Config(void)
{
  RCC_OscInitTypeDef RCC_OscInitStruct = {0};
  RCC_ClkInitTypeDef RCC_ClkInitStruct = {0};

  /** Configure the main internal regulator output voltage
  */
  __HAL_RCC_PWR_CLK_ENABLE();
  __HAL_PWR_VOLTAGESCALING_CONFIG(PWR_REGULATOR_VOLTAGE_SCALE2);

  /** Initializes the RCC Oscillators according to the specified parameters
  * in the RCC_OscInitTypeDef structure.
  */
  RCC_OscInitStruct.OscillatorType = RCC_OSCILLATORTYPE_HSI;
  RCC_OscInitStruct.HSIState = RCC_HSI_ON;
  RCC_OscInitStruct.HSICalibrationValue = RCC_HSICALIBRATION_DEFAULT;
  RCC_OscInitStruct.PLL.PLLState = RCC_PLL_ON;
  RCC_OscInitStruct.PLL.PLLSource = RCC_PLLSOURCE_HSI;
  RCC_OscInitStruct.PLL.PLLM = 8;
  RCC_OscInitStruct.PLL.PLLN = 80;
  RCC_OscInitStruct.PLL.PLLP = RCC_PLLP_DIV2;
  RCC_OscInitStruct.PLL.PLLQ = 4;
  if (HAL_RCC_OscConfig(&RCC_OscInitStruct) != HAL_OK)
  {
    Error_Handler();
  }

  /** Initializes the CPU, AHB and APB buses clocks
  */
  RCC_ClkInitStruct.ClockType = RCC_CLOCKTYPE_HCLK|RCC_CLOCKTYPE_SYSCLK
                              |RCC_CLOCKTYPE_PCLK1|RCC_CLOCKTYPE_PCLK2;
  RCC_ClkInitStruct.SYSCLKSource = RCC_SYSCLKSOURCE_PLLCLK;
  RCC_ClkInitStruct.AHBCLKDivider = RCC_SYSCLK_DIV1;
  RCC_ClkInitStruct.APB1CLKDivider = RCC_HCLK_DIV2;
  RCC_ClkInitStruct.APB2CLKDivider = RCC_HCLK_DIV2;

  if (HAL_RCC_ClockConfig(&RCC_ClkInitStruct, FLASH_LATENCY_2) != HAL_OK)
  {
    Error_Handler();
  }
}

static void MX_ADC1_Init(void)
{

  ADC_ChannelConfTypeDef sConfig = {0};

  /** Configure the global features of the ADC (Clock, Resolution, Data Alignment and number of conversion)
  */
  hadc1.Instance = ADC1;
  hadc1.Init.ClockPrescaler = ADC_CLOCK_SYNC_PCLK_DIV2;
  hadc1.Init.Resolution = ADC_RESOLUTION_12B;
  hadc1.Init.ScanConvMode = ENABLE;
  hadc1.Init.ContinuousConvMode = DISABLE;
  hadc1.Init.DiscontinuousConvMode = DISABLE;
  hadc1.Init.ExternalTrigConvEdge = ADC_EXTERNALTRIGCONVEDGE_RISING;
  hadc1.Init.ExternalTrigConv = ADC_EXTERNALTRIGCONV_T2_TRGO;
  hadc1.Init.DataAlign = ADC_DATAALIGN_RIGHT;
  hadc1.Init.NbrOfConversion = 15;
  hadc1.Init.DMAContinuousRequests = DISABLE;
  hadc1.Init.EOCSelection = ADC_EOC_SEQ_CONV;
  if (HAL_ADC_Init(&hadc1) != HAL_OK)
  {
    Error_Handler();
  }

  /** Configure for the selected ADC regular channel its corresponding rank in the sequencer and its sample time.
  */
  sConfig.Channel = ADC_CHANNEL_0;
  sConfig.Rank = 1;
  sConfig.SamplingTime = ADC_SAMPLETIME_84CYCLES;
  if (HAL_ADC_ConfigChannel(&hadc1, &sConfig) != HAL_OK)
  {
    Error_Handler();
  }

  /** Configure for the selected ADC regular channel its corresponding rank in the sequencer and its sample time.
  */
  sConfig.Channel = ADC_CHANNEL_1;
  sConfig.Rank = 2;
  if (HAL_ADC_ConfigChannel(&hadc1, &sConfig) != HAL_OK)
  {
    Error_Handler();
  }

  /** Configure for the selected ADC regular channel its corresponding rank in the sequencer and its sample time.
  */
  sConfig.Channel = ADC_CHANNEL_2;
  sConfig.Rank = 3;
  if (HAL_ADC_ConfigChannel(&hadc1, &sConfig) != HAL_OK)
  {
    Error_Handler();
  }

  /** Configure for the selected ADC regular channel its corresponding rank in the sequencer and its sample time.
  */
  sConfig.Channel = ADC_CHANNEL_3;
  sConfig.Rank = 4;
  if (HAL_ADC_ConfigChannel(&hadc1, &sConfig) != HAL_OK)
  {
    Error_Handler();
  }

  /** Configure for the selected ADC regular channel its corresponding rank in the sequencer and its sample time.
  */
  sConfig.Channel = ADC_CHANNEL_4;
  sConfig.Rank = 5;
  if (HAL_ADC_ConfigChannel(&hadc1, &sConfig) != HAL_OK)
  {
    Error_Handler();
  }

  /** Configure for the selected ADC regular channel its corresponding rank in the sequencer and its sample time.
  */
  sConfig.Channel = ADC_CHANNEL_5;
  sConfig.Rank = 6;
  if (HAL_ADC_ConfigChannel(&hadc1, &sConfig) != HAL_OK)
  {
    Error_Handler();
  }

  /** Configure for the selected ADC regular channel its corresponding rank in the sequencer and its sample time.
  */
  sConfig.Channel = ADC_CHANNEL_6;
  sConfig.Rank = 7;
  if (HAL_ADC_ConfigChannel(&hadc1, &sConfig) != HAL_OK)
  {
    Error_Handler();
  }

  /** Configure for the selected ADC regular channel its corresponding rank in the sequencer and its sample time.
  */
  sConfig.Channel = ADC_CHANNEL_7;
  sConfig.Rank = 8;
  if (HAL_ADC_ConfigChannel(&hadc1, &sConfig) != HAL_OK)
  {
    Error_Handler();
  }

  /** Configure for the selected ADC regular channel its corresponding rank in the sequencer and its sample time.
  */
  sConfig.Channel = ADC_CHANNEL_8;
  sConfig.Rank = 9;
  if (HAL_ADC_ConfigChannel(&hadc1, &sConfig) != HAL_OK)
  {
    Error_Handler();
  }

  /** Configure for the selected ADC regular channel its corresponding rank in the sequencer and its sample time.
  */
  sConfig.Channel = ADC_CHANNEL_9;
  sConfig.Rank = 10;
  if (HAL_ADC_ConfigChannel(&hadc1, &sConfig) != HAL_OK)
  {
    Error_Handler();
  }

  /** Configure for the selected ADC regular channel its corresponding rank in the sequencer and its sample time.
  */
  sConfig.Channel = ADC_CHANNEL_10;
  sConfig.Rank = 11;
  if (HAL_ADC_ConfigChannel(&hadc1, &sConfig) != HAL_OK)
  {
    Error_Handler();
  }

  /** Configure for the selected ADC regular channel its corresponding rank in the sequencer and its sample time.
  */
  sConfig.Channel = ADC_CHANNEL_11;
  sConfig.Rank = 12;
  if (HAL_ADC_ConfigChannel(&hadc1, &sConfig) != HAL_OK)
  {
    Error_Handler();
  }

  /** Configure for the selected ADC regular channel its corresponding rank in the sequencer and its sample time.
  */
  sConfig.Channel = ADC_CHANNEL_12;
  sConfig.Rank = 13;
  if (HAL_ADC_ConfigChannel(&hadc1, &sConfig) != HAL_OK)
  {
    Error_Handler();
  }

  /** Configure for the selected ADC regular channel its corresponding rank in the sequencer and its sample time.
  */
  sConfig.Channel = ADC_CHANNEL_13;
  sConfig.Rank = 14;
  if (HAL_ADC_ConfigChannel(&hadc1, &sConfig) != HAL_OK)
  {
    Error_Handler();
  }

  /** Configure for the selected ADC regular channel its corresponding rank in the sequencer and its sample time.
  */
  sConfig.Channel = ADC_CHANNEL_14;
  sConfig.Rank = 15;
  if (HAL_ADC_ConfigChannel(&hadc1, &sConfig) != HAL_OK)
  {
    Error_Handler();
  }

}

static void MX_I2C1_Init(void)
{

  hi2c1.Instance = I2C1;
  hi2c1.Init.ClockSpeed = 400000;
  hi2c1.Init.DutyCycle = I2C_DUTYCYCLE_2;
  hi2c1.Init.OwnAddress1 = 0;
  hi2c1.Init.AddressingMode = I2C_ADDRESSINGMODE_7BIT;
  hi2c1.Init.DualAddressMode = I2C_DUALADDRESS_DISABLE;
  hi2c1.Init.OwnAddress2 = 0;
  hi2c1.Init.GeneralCallMode = I2C_GENERALCALL_DISABLE;
  hi2c1.Init.NoStretchMode = I2C_NOSTRETCH_DISABLE;
  if (HAL_I2C_Init(&hi2c1) != HAL_OK)
  {
    Error_Handler();
  }

}

static void MX_I2C2_Init(void)
{

  hi2c2.Instance = I2C2;
  hi2c2.Init.ClockSpeed = 400000;
  hi2c2.Init.DutyCycle = I2C_DUTYCYCLE_2;
  hi2c2.Init.OwnAddress1 = 0;
  hi2c2.Init.AddressingMode = I2C_ADDRESSINGMODE_7BIT;
  hi2c2.Init.DualAddressMode = I2C_DUALADDRESS_DISABLE;
  hi2c2.Init.OwnAddress2 = 0;
  hi2c2.Init.GeneralCallMode = I2C_GENERALCALL_DISABLE;
  hi2c2.Init.NoStretchMode = I2C_NOSTRETCH_DISABLE;
  if (HAL_I2C_Init(&hi2c2) != HAL_OK)
  {
    Error_Handler();
  }

}

static void MX_I2C3_Init(void)
{

  hi2c3.Instance = I2C3;
  hi2c3.Init.ClockSpeed = 400000;
  hi2c3.Init.DutyCycle = I2C_DUTYCYCLE_2;
  hi2c3.Init.OwnAddress1 = 0;
  hi2c3.Init.AddressingMode = I2C_ADDRESSINGMODE_7BIT;
  hi2c3.Init.DualAddressMode = I2C_DUALADDRESS_DISABLE;
  hi2c3.Init.OwnAddress2 = 0;
  hi2c3.Init.GeneralCallMode = I2C_GENERALCALL_DISABLE;
  hi2c3.Init.NoStretchMode = I2C_NOSTRETCH_DISABLE;
  if (HAL_I2C_Init(&hi2c3) != HAL_OK)
  {
    Error_Handler();
  }

}

static void MX_TIM2_Init(void)
{

  TIM_ClockConfigTypeDef sClockSourceConfig = {0};
  TIM_MasterConfigTypeDef sMasterConfig = {0};

  htim2.Instance = TIM2;
  htim2.Init.Prescaler = 8000;
  htim2.Init.CounterMode = TIM_COUNTERMODE_UP;
  htim2.Init.Period = 500-1;
  htim2.Init.ClockDivision = TIM_CLOCKDIVISION_DIV1;
  htim2.Init.AutoReloadPreload = TIM_AUTORELOAD_PRELOAD_DISABLE;
  if (HAL_TIM_Base_Init(&htim2) != HAL_OK)
  {
    Error_Handler();
  }
  sClockSourceConfig.ClockSource = TIM_CLOCKSOURCE_INTERNAL;
  if (HAL_TIM_ConfigClockSource(&htim2, &sClockSourceConfig) != HAL_OK)
  {
    Error_Handler();
  }
  sMasterConfig.MasterOutputTrigger = TIM_TRGO_UPDATE;
  sMasterConfig.MasterSlaveMode = TIM_MASTERSLAVEMODE_DISABLE;
  if (HAL_TIMEx_MasterConfigSynchronization(&htim2, &sMasterConfig) != HAL_OK)
  {
    Error_Handler();
  }

}

static void MX_TIM4_Init(void)
{

  TIM_ClockConfigTypeDef sClockSourceConfig = {0};
  TIM_MasterConfigTypeDef sMasterConfig = {0};

  htim4.Instance = TIM4;
  htim4.Init.Prescaler = 80 - 1;
  htim4.Init.CounterMode = TIM_COUNTERMODE_UP;
  htim4.Init.Period = 123;
  htim4.Init.ClockDivision = TIM_CLOCKDIVISION_DIV1;
  htim4.Init.AutoReloadPreload = TIM_AUTORELOAD_PRELOAD_DISABLE;
  if (HAL_TIM_Base_Init(&htim4) != HAL_OK)
  {
    Error_Handler();
  }
  sClockSourceConfig.ClockSource = TIM_CLOCKSOURCE_INTERNAL;
  if (HAL_TIM_ConfigClockSource(&htim4, &sClockSourceConfig) != HAL_OK)
  {
    Error_Handler();
  }
  sMasterConfig.MasterOutputTrigger = TIM_TRGO_RESET;
  sMasterConfig.MasterSlaveMode = TIM_MASTERSLAVEMODE_DISABLE;
  if (HAL_TIMEx_MasterConfigSynchronization(&htim4, &sMasterConfig) != HAL_OK)
  {
    Error_Handler();
  }

}

static void MX_DMA_Init(void)
{

  /* DMA controller clock enable */
  __HAL_RCC_DMA2_CLK_ENABLE();

  /* DMA interrupt init */
  /* DMA2_Stream0_IRQn interrupt configuration */
  HAL_NVIC_SetPriority(DMA2_Stream0_IRQn, 0, 0);
  HAL_NVIC_EnableIRQ(DMA2_Stream0_IRQn);

}

static void MX_GPIO_Init(void)
{
  GPIO_InitTypeDef GPIO_InitStruct = {0};

  /* GPIO Ports Clock Enable */
  __HAL_RCC_GPIOC_CLK_ENABLE();
  __HAL_RCC_GPIOA_CLK_ENABLE();
  __HAL_RCC_GPIOB_CLK_ENABLE();

  /*Configure GPIO pin Output Level */
  HAL_GPIO_WritePin(GPIOC, EN_SCK_Pin|DEMP1_Pin|DEMP0_Pin|FMT_Pin, GPIO_PIN_RESET);

  /*Configure GPIO pin Output Level */
  HAL_GPIO_WritePin(MUTE_GPIO_Port, MUTE_Pin, GPIO_PIN_RESET);

  /*Configure GPIO pin Output Level */
  HAL_GPIO_WritePin(GPIOB, GPIO_MCU0_Pin|nRST_DSP0_Pin|nRST_DSP1_Pin|nRST_DSP2_Pin, GPIO_PIN_RESET);

  /*Configure GPIO pins : EN_SCK_Pin DEMP1_Pin DEMP0_Pin FMT_Pin */
  GPIO_InitStruct.Pin = EN_SCK_Pin|DEMP1_Pin|DEMP0_Pin|FMT_Pin;
  GPIO_InitStruct.Mode = GPIO_MODE_OUTPUT_PP;
  GPIO_InitStruct.Pull = GPIO_NOPULL;
  GPIO_InitStruct.Speed = GPIO_SPEED_FREQ_LOW;
  HAL_GPIO_Init(GPIOC, &GPIO_InitStruct);

  /*Configure GPIO pin : MUTE_Pin */
  GPIO_InitStruct.Pin = MUTE_Pin;
  GPIO_InitStruct.Mode = GPIO_MODE_OUTPUT_PP;
  GPIO_InitStruct.Pull = GPIO_NOPULL;
  GPIO_InitStruct.Speed = GPIO_SPEED_FREQ_LOW;
  HAL_GPIO_Init(MUTE_GPIO_Port, &GPIO_InitStruct);

  /*Configure GPIO pins : GPIO_MCU0_Pin nRST_DSP0_Pin nRST_DSP1_Pin nRST_DSP2_Pin */
  GPIO_InitStruct.Pin = GPIO_MCU0_Pin|nRST_DSP0_Pin|nRST_DSP1_Pin|nRST_DSP2_Pin;
  GPIO_InitStruct.Mode = GPIO_MODE_OUTPUT_PP;
  GPIO_InitStruct.Pull = GPIO_NOPULL;
  GPIO_InitStruct.Speed = GPIO_SPEED_FREQ_LOW;
  HAL_GPIO_Init(GPIOB, &GPIO_InitStruct);

}

/* USER CODE BEGIN 4 */
void SIGMA_WRITE_REGISTER_BLOCK(uint16_t devAddress, uint16_t address, uint16_t length, uint8_t *pData)
{
	stat = HAL_I2C_Mem_Write(&hi2c1, devAddress, address, 2, pData, length, 1000);
}

void SIGMA_WRITE_DELAY(uint16_t devAddress, uint16_t length, uint8_t *pData)
{
	HAL_Delay(11);
}

void HAL_ADC_ConvCpltCallback(ADC_HandleTypeDef* hadc)
{
	uint32_t i = 0;
	uint32_t j = 0;
	uint32_t k = 0;

	for(k=VOL_SUB; k<ADC_POT; k++) // For volume, loud low, loud high, loud general
	{
		for(i=0; i<30; i++)
		{
			if((i == 0) && (value[k] < (linear_in_table[i+1])-15))
			{
				if(pote[k] != i)
				{
					pote[k] = i;
					flag[k] = 1;
				}
			}
			else if((i > 0) && (i < 29) && (value[k] > (linear_in_table[i]+15)) && (value[k] < (linear_in_table[i+1])-15))
			{
				if(pote[k] != i)
				{
					pote[k] = i;
					flag[k] = 1;
				}
			}
			else if((i == 29) && (value[k] > (linear_in_table[i]+15)))
			{
				if(pote[k] != i)
				{
					pote[k] = i;
					flag[k] = 1;
				}
			}
		}
	}

	for(j=0; j<10; j++) // For filter 32Hz - 16KHz
	{
		for(i=0; i<30; i++)
		{
			if((i == 0) && (value[j] < (log_in_table[i+1])-15))
			{
				if(pote[j] != i)
				{
					pote[j] = i;
					flag[j] = 1;
				}
			}
			else if((i > 0) && (i < 29) && (value[j] > (log_in_table[i]+15)) && (value[j] < (log_in_table[i+1])-15))
			{
				if(pote[j] != i)
				{
					pote[j] = i;
					flag[j] = 1;
				}
			}
			else if((i == 29) && (value[j] > (log_in_table[i]+15)))
			{
				if(pote[j] != i)
				{
					pote[j] = i;
					flag[j] = 1;
				}
			}
		}

	}

	update = 1;
}
void delay_us(uint16_t us)
{
	htim4.Instance->CNT = 0;
	while((htim4.Instance->CNT) < us);
}
void Safeload_Write(void)
{
	SIGMA_WRITE_REGISTER_BLOCK(DSP0_ADDR, MOD_SAFELOADMODULE_DATA_SAFELOAD0_ADDR, 4, data_SafeLoad);
	SIGMA_WRITE_REGISTER_BLOCK(DSP0_ADDR, MOD_SAFELOADMODULE_ADDRESS_SAFELOAD_ADDR, 4, address_SafeLoad);
	SIGMA_WRITE_REGISTER_BLOCK(DSP0_ADDR, MOD_SAFELOADMODULE_NUM_SAFELOAD_LOWER_ADDR, 4, num_SafeLoad_Lower);
    SIGMA_WRITE_REGISTER_BLOCK(DSP0_ADDR, MOD_SAFELOADMODULE_NUM_SAFELOAD_UPPER_ADDR, 4, num_SafeLoad_Upper);

	SIGMA_WRITE_REGISTER_BLOCK(DSP1_ADDR, MOD_SAFELOADMODULE_DATA_SAFELOAD0_ADDR, 4, data_SafeLoad);
	SIGMA_WRITE_REGISTER_BLOCK(DSP1_ADDR, MOD_SAFELOADMODULE_ADDRESS_SAFELOAD_ADDR, 4, address_SafeLoad);
	SIGMA_WRITE_REGISTER_BLOCK(DSP1_ADDR, MOD_SAFELOADMODULE_NUM_SAFELOAD_LOWER_ADDR, 4, num_SafeLoad_Lower);
    SIGMA_WRITE_REGISTER_BLOCK(DSP1_ADDR, MOD_SAFELOADMODULE_NUM_SAFELOAD_UPPER_ADDR, 4, num_SafeLoad_Upper);

	SIGMA_WRITE_REGISTER_BLOCK(DSP2_ADDR, MOD_SAFELOADMODULE_DATA_SAFELOAD0_ADDR, 4, data_SafeLoad);
	SIGMA_WRITE_REGISTER_BLOCK(DSP2_ADDR, MOD_SAFELOADMODULE_ADDRESS_SAFELOAD_ADDR, 4, address_SafeLoad);
	SIGMA_WRITE_REGISTER_BLOCK(DSP2_ADDR, MOD_SAFELOADMODULE_NUM_SAFELOAD_LOWER_ADDR, 4, num_SafeLoad_Lower);
    SIGMA_WRITE_REGISTER_BLOCK(DSP2_ADDR, MOD_SAFELOADMODULE_NUM_SAFELOAD_UPPER_ADDR, 4, num_SafeLoad_Upper);
}
/* USER CODE END 4 */

void Error_Handler(void)
{
  __disable_irq();
  while (1)
  {
  }
}
